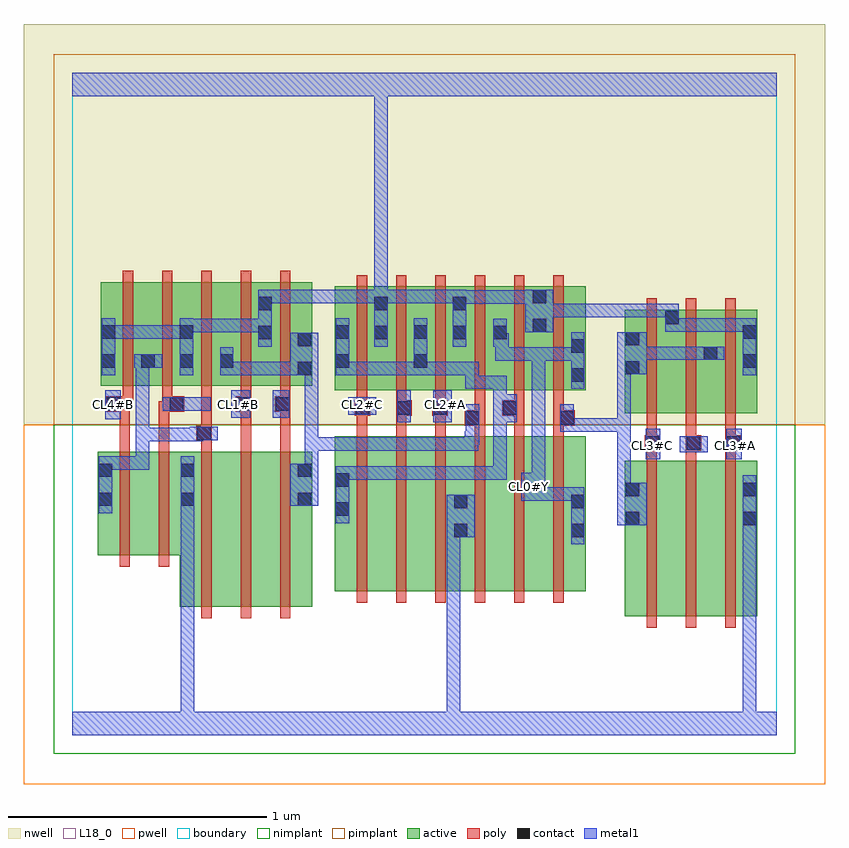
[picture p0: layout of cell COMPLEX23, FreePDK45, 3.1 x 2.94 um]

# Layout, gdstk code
import gdstk
lib = gdstk.Library(unit=1e-6, precision=1e-09)
def R(c, l, rs):  # rectangles x0, y0, x1, y1
    for r in rs: c.add(gdstk.rectangle(r[:2], r[2:], *l))
def A(c, l, x, y, w, h, nx, ny, dx, dy):  # array of equal rectangles
    R(c, l, [(x+i*dx, y+j*dy, x+i*dx+w, y+j*dy+h) for i in range(nx) for j in range(ny)])
active = (1, 0)
pwell = (2, 0)
nwell = (3, 0)
nimplant = (4, 0)
pimplant = (5, 0)
poly = (9, 0)
contact = (10, 0)
metal1 = (11, 0)
L18_0 = (18, 0)
boundary = (235, 0)

complex23 = lib.new_cell('COMPLEX23')
R(complex23, active, [(2.134,0.46,2.194,1.06), (2.134,0.46,2.314,1.06), (2.314,0.46,2.466,1.06), (2.466,0.46,2.646,1.06), (2.586,0.46,2.646,1.06), (0.414,0.496,0.594,1.096), (0.594,0.496,0.746,1.096), (0.746,0.496,0.926,1.096), (0.866,0.556,0.926,1.096), (1.014,0.556,1.074,1.156), (1.014,0.556,1.194,1.156), (1.194,0.556,1.346,1.156), (1.346,0.556,1.53,1.156), (1.47,0.556,1.65,1.156), (1.47,0.556,1.53,0.952), (1.65,0.556,1.802,1.156), (1.802,0.556,1.982,1.156), (1.922,0.556,1.982,1.156), (0.098,0.696,0.278,1.096), (0.278,0.696,0.474,1.096), (0.098,0.702,0.158,1.096), (0.414,0.702,0.474,1.054), (2.134,1.244,2.194,1.644), (2.134,1.244,2.346,1.644), (2.286,1.244,2.494,1.644), (2.434,1.244,2.646,1.644), (2.586,1.244,2.646,1.644), (2.434,1.258,2.494,1.644), (1.014,1.334,1.222,1.734), (1.014,1.334,1.074,1.644), (1.162,1.334,1.374,1.734), (1.314,1.334,1.526,1.734), (1.314,1.334,1.374,1.644), (1.466,1.334,1.682,1.734), (1.622,1.334,1.834,1.734), (1.774,1.334,1.982,1.734), (1.922,1.334,1.982,1.644), (1.622,1.342,1.682,1.644), (0.11,1.35,0.322,1.75), (0.11,1.35,0.17,1.644), (0.262,1.35,0.47,1.75), (0.262,1.35,0.322,1.644), (0.41,1.35,0.626,1.75), (0.41,1.35,0.47,1.644), (0.566,1.35,0.774,1.75), (0.566,1.35,0.626,1.644), (0.714,1.35,0.926,1.75), (0.866,1.35,0.926,1.644), (1.162,1.35,1.222,1.698), (1.466,1.35,1.526,1.722), (1.774,1.35,1.834,1.726), (0.714,1.376,0.774,1.71), (2.286,1.382,2.346,1.644)])
R(complex23, pwell, [(-0.188,-0.188,2.908,1.2)])
R(complex23, nwell, [(-0.188,1.2,2.908,2.748)])
R(complex23, nimplant, [(-0.072,-0.072,2.792,1.2)])
R(complex23, pimplant, [(-0.072,1.2,2.792,2.632)])
A(complex23, poly, 2.218, 0.416, 0.04, 0.688, 3, 1, 0.152, 0)
A(complex23, poly, 0.498, 0.452, 0.04, 0.688, 3, 1, 0.152, 0)
A(complex23, poly, 1.098, 0.512, 0.04, 0.688, 6, 1, 0.152, 0)
A(complex23, poly, 2.218, 1.064, 0.04, 0.076, 3, 1, 0.152, 0)
A(complex23, poly, 2.218, 1.12, 0.04, 0.12, 3, 1, 0.152, 0)
A(complex23, poly, 1.098, 1.16, 0.04, 0.114, 3, 1, 0.152, 0)
A(complex23, poly, 2.218, 1.2, 0.04, 0.488, 3, 1, 0.152, 0)
A(complex23, poly, 1.098, 1.254, 0.04, 0.076, 3, 1, 0.152, 0)
A(complex23, poly, 1.098, 1.29, 0.04, 0.488, 6, 1, 0.152, 0)
A(complex23, poly, 0.194, 1.306, 0.04, 0.488, 5, 1, 0.152, 0)
R(complex23, poly, [(0.182,0.652,0.222,1.14), (0.334,0.652,0.374,1.14), (0.182,1.1,0.222,1.29), (0.334,1.1,0.374,1.29), (0.498,1.1,0.538,1.176), (0.65,1.1,0.69,1.29), (0.802,1.1,0.842,1.29), (2.21,1.1,2.27,1.16), (2.218,1.1,2.258,1.14), (2.218,1.1,2.258,1.14), (2.37,1.1,2.43,1.16), (2.522,1.1,2.582,1.16), (2.37,1.12,2.41,1.16), (2.37,1.12,2.41,1.16), (2.522,1.12,2.562,1.16), (2.522,1.12,2.562,1.16), (0.478,1.136,0.538,1.196), (0.498,1.156,0.538,1.196), (0.498,1.156,0.538,1.196), (0.498,1.156,0.538,1.346), (1.554,1.16,1.594,1.236), (1.706,1.16,1.746,1.274), (1.858,1.16,1.898,1.236), (1.516,1.196,1.594,1.256), (1.858,1.196,1.94,1.256), (1.554,1.216,1.594,1.256), (1.554,1.216,1.594,1.256), (1.554,1.216,1.594,1.33), (1.858,1.216,1.898,1.256), (1.858,1.216,1.898,1.256), (1.858,1.216,1.898,1.33), (1.09,1.234,1.15,1.294), (1.098,1.234,1.138,1.274), (1.098,1.234,1.138,1.274), (1.25,1.234,1.29,1.274), (1.25,1.234,1.29,1.274), (1.25,1.234,1.31,1.294), (1.39,1.234,1.45,1.294), (1.402,1.234,1.442,1.274), (1.402,1.234,1.442,1.274), (1.66,1.234,1.746,1.294), (1.706,1.234,1.746,1.274), (1.706,1.234,1.746,1.274), (0.13,1.25,0.222,1.31), (0.334,1.25,0.386,1.29), (0.346,1.25,0.386,1.29), (0.346,1.25,0.432,1.31), (0.63,1.25,0.69,1.31), (0.65,1.25,0.69,1.29), (0.65,1.25,0.69,1.29), (0.782,1.25,0.842,1.31), (0.802,1.25,0.842,1.29), (0.802,1.25,0.842,1.29), (1.706,1.254,1.746,1.33), (0.182,1.27,0.222,1.31), (0.182,1.27,0.234,1.31), (0.194,1.27,0.234,1.346), (0.346,1.27,0.386,1.346), (0.65,1.27,0.69,1.346), (0.802,1.27,0.842,1.346)])
R(complex23, contact, [(1.474,0.766,1.526,0.818), (1.926,0.766,1.978,0.818), (2.138,0.812,2.19,0.864), (2.59,0.812,2.642,0.864), (1.018,0.848,1.07,0.9), (1.474,0.878,1.526,0.93), (1.926,0.878,1.978,0.93), (0.102,0.886,0.154,0.938), (0.418,0.886,0.47,0.938), (0.87,0.886,0.922,0.938), (2.138,0.924,2.19,0.976), (2.59,0.924,2.642,0.976), (1.018,0.96,1.07,1.012), (0.102,0.998,0.154,1.05), (0.418,0.998,0.47,1.05), (0.87,0.998,0.922,1.05), (2.214,1.104,2.266,1.156), (2.374,1.104,2.426,1.156), (2.526,1.104,2.578,1.156), (0.482,1.14,0.534,1.192), (1.52,1.2,1.572,1.252), (1.884,1.2,1.936,1.252), (1.094,1.238,1.146,1.29), (1.254,1.238,1.306,1.29), (1.394,1.238,1.446,1.29), (1.664,1.238,1.716,1.29), (0.134,1.254,0.186,1.306), (0.376,1.254,0.428,1.306), (0.634,1.254,0.686,1.306), (0.786,1.254,0.838,1.306), (1.926,1.366,1.978,1.418), (0.87,1.392,0.922,1.444), (2.138,1.394,2.19,1.446), (0.114,1.42,0.166,1.472), (0.266,1.42,0.318,1.472), (0.414,1.42,0.466,1.472), (0.57,1.42,0.622,1.472), (1.018,1.42,1.07,1.472), (1.318,1.42,1.37,1.472), (2.59,1.42,2.642,1.472), (2.438,1.45,2.49,1.502), (1.926,1.478,1.978,1.53), (0.87,1.504,0.922,1.556), (2.138,1.506,2.19,1.558), (0.718,1.53,0.77,1.582), (1.166,1.53,1.218,1.582), (1.47,1.53,1.522,1.582), (1.626,1.53,1.678,1.582), (0.114,1.532,0.166,1.584), (0.414,1.532,0.466,1.584), (1.018,1.532,1.07,1.584), (1.318,1.532,1.37,1.584), (2.59,1.532,2.642,1.584), (1.778,1.558,1.83,1.61), (2.29,1.588,2.342,1.64), (0.718,1.642,0.77,1.694), (1.166,1.642,1.218,1.694), (1.47,1.642,1.522,1.694), (1.778,1.67,1.83,1.722)])
R(complex23, metal1, [(0,0,2.72,0.092), (0.418,0.04,0.47,0.092), (0.418,0.04,0.47,0.092), (0.418,0.04,0.47,0.092), (0.418,0.04,0.47,0.092), (0.418,0.04,0.47,0.092), (0.418,0.04,0.47,0.092), (0.418,0.04,0.47,0.91), (1.446,0.04,1.498,0.092), (1.446,0.04,1.498,0.092), (1.446,0.04,1.498,0.092), (1.446,0.04,1.498,0.092), (1.446,0.04,1.498,0.818), (2.59,0.04,2.642,0.836), (1.926,0.738,1.978,0.958), (1.446,0.766,1.498,0.818), (1.446,0.766,1.498,0.818), (1.446,0.766,1.498,0.818), (1.446,0.766,1.498,0.818), (1.446,0.766,1.554,0.93), (2.59,0.784,2.642,0.836), (2.59,0.784,2.642,0.836), (2.59,0.784,2.642,0.836), (2.59,0.784,2.642,0.836), (2.59,0.784,2.642,0.836), (2.59,0.784,2.642,0.836), (2.59,0.784,2.642,0.836), (2.59,0.784,2.642,0.836), (2.59,0.784,2.642,1.004), (2.104,0.812,2.218,0.976), (1.018,0.82,1.07,1.04), (0.102,0.858,0.154,1.078), (0.418,0.858,0.47,0.91), (0.418,0.858,0.47,0.91), (0.418,0.858,0.47,1.078), (0.842,0.886,0.95,1.05), (1.734,0.906,1.826,1.014), (1.774,0.906,1.826,0.958), (1.774,0.906,1.826,0.958), (1.774,0.906,1.826,0.958), (1.774,0.906,1.826,0.958), (1.774,0.906,1.978,0.958), (2.104,0.924,2.156,1.224), (1.774,0.962,1.826,1.014), (1.774,0.962,1.826,1.014), (1.774,0.962,1.826,1.5), (1.018,0.988,1.07,1.04), (1.018,0.988,1.07,1.04), (1.018,0.988,1.18,1.04), (1.128,0.988,1.18,1.04), (1.128,0.988,1.18,1.04), (1.128,0.988,1.18,1.04), (1.128,0.988,1.388,1.04), (1.336,0.988,1.388,1.04), (1.336,0.988,1.388,1.04), (1.336,0.988,1.388,1.04), (1.336,0.988,1.568,1.04), (1.516,0.988,1.568,1.04), (1.516,0.988,1.576,1.04), (1.524,0.988,1.576,1.04), (1.524,0.988,1.678,1.04), (1.626,0.988,1.678,1.04), (1.626,0.988,1.678,1.04), (1.626,0.988,1.678,1.04), (1.626,0.988,1.678,1.318), (0.898,0.998,0.95,1.152), (0.102,1.026,0.154,1.078), (0.102,1.026,0.154,1.078), (0.102,1.026,0.296,1.078), (0.244,1.026,0.296,1.078), (0.244,1.026,0.296,1.188), (2.214,1.066,2.27,1.184), (2.526,1.066,2.586,1.184), (2.346,1.094,2.454,1.156), (0.898,1.1,0.95,1.152), (0.898,1.1,0.95,1.152), (0.898,1.1,0.95,1.152), (0.898,1.1,1.06,1.152), (0.898,1.1,0.95,1.444), (1.008,1.1,1.06,1.152), (1.008,1.1,1.06,1.152), (1.008,1.1,1.06,1.152), (1.008,1.1,1.18,1.152), (1.128,1.1,1.18,1.152), (1.128,1.1,1.18,1.152), (1.128,1.1,1.18,1.152), (1.128,1.1,1.328,1.152), (1.276,1.1,1.328,1.152), (1.276,1.1,1.328,1.152), (1.276,1.1,1.328,1.152), (1.276,1.1,1.568,1.152), (1.516,1.1,1.568,1.174), (1.516,1.122,1.572,1.174), (1.52,1.122,1.572,1.28), (0.244,1.136,0.296,1.188), (0.244,1.136,0.296,1.188), (0.244,1.136,0.296,1.188), (0.244,1.136,0.506,1.188), (0.244,1.136,0.296,1.472), (0.454,1.136,0.506,1.192), (0.454,1.14,0.506,1.192), (0.454,1.14,0.562,1.192), (1.884,1.172,1.936,1.28), (1.884,1.172,2.014,1.224), (1.962,1.172,2.014,1.224), (1.962,1.172,2.156,1.224), (2.104,1.172,2.156,1.224), (2.104,1.172,2.156,1.446), (1.254,1.21,1.306,1.334), (1.394,1.21,1.466,1.334), (1.664,1.21,1.716,1.318), (0.126,1.222,0.186,1.334), (0.614,1.226,0.686,1.334), (0.774,1.226,0.838,1.334), (1.066,1.238,1.174,1.306), (0.348,1.254,0.534,1.306), (1.626,1.266,1.716,1.318), (1.626,1.266,1.678,1.39), (1.518,1.338,1.57,1.39), (1.518,1.338,1.57,1.444), (1.518,1.338,1.576,1.39), (1.524,1.338,1.576,1.39), (1.524,1.338,1.678,1.39), (1.926,1.338,1.978,1.558), (0.114,1.392,0.166,1.612), (0.414,1.392,0.466,1.612), (0.57,1.392,0.622,1.444), (0.57,1.392,0.622,1.444), (0.57,1.392,0.622,1.5), (0.57,1.392,0.784,1.444), (0.732,1.392,0.784,1.444), (0.732,1.392,0.784,1.444), (0.732,1.392,0.784,1.444), (0.732,1.392,0.894,1.444), (0.842,1.392,0.95,1.556), (1.018,1.392,1.07,1.444), (1.018,1.392,1.07,1.444), (1.018,1.392,1.07,1.612), (1.018,1.392,1.18,1.444), (1.128,1.392,1.18,1.444), (1.128,1.392,1.18,1.444), (1.128,1.392,1.18,1.444), (1.128,1.392,1.37,1.444), (1.318,1.392,1.37,1.444), (1.318,1.392,1.37,1.444), (1.318,1.392,1.37,1.612), (1.318,1.392,1.57,1.444), (1.518,1.392,1.57,1.444), (2.59,1.392,2.642,1.612), (2.104,1.394,2.156,1.446), (2.104,1.394,2.156,1.446), (2.104,1.394,2.218,1.558), (0.238,1.42,0.346,1.472), (0.244,1.42,0.296,1.472), (0.244,1.42,0.296,1.472), (1.634,1.448,1.826,1.5), (1.634,1.448,1.686,1.554), (1.774,1.448,1.826,1.5), (1.774,1.448,1.978,1.5), (1.926,1.448,1.978,1.5), (1.926,1.448,1.978,1.5), (2.166,1.45,2.218,1.502), (2.166,1.45,2.218,1.502), (2.166,1.45,2.352,1.502), (2.3,1.45,2.352,1.502), (2.3,1.45,2.352,1.502), (2.3,1.45,2.352,1.502), (2.3,1.45,2.462,1.502), (2.41,1.45,2.518,1.502), (0.718,1.502,0.77,1.722), (1.166,1.502,1.218,1.722), (1.47,1.502,1.522,1.722), (1.626,1.502,1.678,1.61), (1.626,1.502,1.686,1.554), (0.114,1.532,0.166,1.584), (0.114,1.532,0.166,1.584), (0.114,1.532,0.346,1.584), (0.294,1.532,0.346,1.584), (0.294,1.532,0.346,1.584), (0.294,1.532,0.346,1.584), (0.294,1.532,0.466,1.584), (0.414,1.558,0.488,1.61), (0.436,1.558,0.488,1.61), (0.436,1.558,0.64,1.61), (0.588,1.558,0.64,1.61), (0.588,1.558,0.64,1.61), (0.588,1.558,0.64,1.61), (0.588,1.558,0.77,1.61), (1.75,1.558,1.858,1.722), (2.29,1.56,2.342,1.612), (2.29,1.56,2.342,1.612), (2.29,1.56,2.462,1.612), (2.29,1.56,2.342,1.668), (2.41,1.56,2.462,1.612), (2.41,1.56,2.642,1.612), (2.59,1.56,2.642,1.612), (2.59,1.56,2.642,1.612), (1.806,1.616,2.014,1.668), (1.962,1.616,2.014,1.668), (1.962,1.616,2.014,1.668), (1.962,1.616,2.014,1.668), (1.962,1.616,2.124,1.668), (2.072,1.616,2.124,1.668), (2.072,1.616,2.124,1.668), (2.072,1.616,2.124,1.668), (2.072,1.616,2.342,1.668), (1.47,1.668,1.576,1.72), (1.524,1.668,1.576,1.72), (1.524,1.668,1.678,1.72), (1.626,1.668,1.678,1.72), (1.626,1.668,1.686,1.72), (1.634,1.668,1.686,1.72), (1.634,1.668,1.802,1.72), (0.718,1.67,0.77,1.722), (0.718,1.67,0.77,1.722), (0.718,1.67,0.894,1.722), (0.842,1.67,0.894,1.722), (0.842,1.67,1.06,1.722), (1.008,1.67,1.06,1.722), (1.008,1.67,1.06,1.722), (1.008,1.67,1.06,1.722), (1.008,1.67,1.218,1.722), (1.166,1.67,1.218,1.722), (1.166,1.67,1.218,1.722), (1.166,1.67,1.388,1.722), (1.166,1.67,1.218,2.52), (1.336,1.67,1.388,1.722), (1.336,1.67,1.388,1.722), (1.336,1.67,1.388,1.722), (1.336,1.67,1.522,1.722), (0,2.468,2.72,2.56), (1.166,2.468,1.218,2.52), (1.166,2.468,1.218,2.52), (1.166,2.468,1.218,2.52), (1.166,2.468,1.218,2.52), (1.166,2.468,1.218,2.52), (1.166,2.468,1.218,2.52), (1.166,2.468,1.218,2.52), (1.166,2.468,1.218,2.52), (1.166,2.468,1.218,2.52), (1.166,2.468,1.218,2.52), (1.166,2.468,1.218,2.52), (1.166,2.468,1.218,2.52), (1.166,2.468,1.218,2.52), (1.166,2.468,1.218,2.52), (1.166,2.468,1.218,2.52), (1.166,2.468,1.218,2.52)])
A(complex23, L18_0, 2.214, 1.094, 0.052, 0.052, 3, 1, 0.16, 0)
A(complex23, L18_0, 0.454, 1.254, 0.052, 0.052, 3, 1, 0.16, 0)
A(complex23, L18_0, 1.094, 1.254, 0.052, 0.052, 3, 1, 0.16, 0)
R(complex23, L18_0, [(0,0,2.72,0.092), (0.418,0.04,0.47,0.092), (0.418,0.04,0.47,0.092), (0.418,0.04,0.47,0.092), (0.418,0.04,0.47,0.092), (0.418,0.04,0.47,0.092), (0.418,0.04,0.47,0.092), (0.418,0.04,0.47,0.91), (1.446,0.04,1.498,0.092), (1.446,0.04,1.498,0.092), (1.446,0.04,1.498,0.092), (1.446,0.04,1.498,0.092), (1.446,0.04,1.498,0.818), (2.59,0.04,2.642,0.836), (1.926,0.738,1.978,0.958), (1.446,0.766,1.498,0.818), (1.446,0.766,1.498,0.818), (1.446,0.766,1.498,0.818), (1.446,0.766,1.498,0.818), (1.446,0.766,1.554,0.93), (2.59,0.784,2.642,1.004), (2.59,0.784,2.642,0.836), (2.59,0.784,2.642,0.836), (2.59,0.784,2.642,0.836), (2.59,0.784,2.642,0.836), (2.59,0.784,2.642,0.836), (2.59,0.784,2.642,0.836), (2.59,0.784,2.642,0.836), (2.59,0.784,2.642,0.836), (0.418,0.858,0.47,1.078), (0.418,0.858,0.47,0.91), (0.418,0.858,0.47,0.91), (1.734,0.906,1.826,1.014), (1.774,0.906,1.826,0.958), (1.774,0.906,1.826,0.958), (1.774,0.906,1.826,0.958), (1.774,0.906,1.826,0.958), (1.774,0.906,1.978,0.958), (1.734,0.934,1.786,0.986), (1.774,0.962,1.826,1.014), (1.774,0.962,1.826,1.014), (1.774,0.962,1.826,1.5), (2.214,1.066,2.27,1.184), (2.526,1.066,2.586,1.184), (2.346,1.094,2.454,1.156), (1.254,1.21,1.306,1.334), (1.394,1.21,1.466,1.334), (0.126,1.222,0.186,1.334), (0.614,1.226,0.686,1.334), (0.774,1.226,0.838,1.334), (1.066,1.238,1.174,1.306), (0.134,1.254,0.186,1.306), (0.348,1.254,0.534,1.306), (1.926,1.338,1.978,1.558), (0.114,1.392,0.166,1.612), (0.414,1.392,0.466,1.612), (2.59,1.392,2.642,1.612), (1.634,1.448,1.686,1.554), (1.634,1.448,1.826,1.5), (1.774,1.448,1.826,1.5), (1.774,1.448,1.978,1.5), (1.926,1.448,1.978,1.5), (1.926,1.448,1.978,1.5), (0.718,1.502,0.77,1.722), (1.166,1.502,1.218,1.722), (1.47,1.502,1.522,1.722), (1.626,1.502,1.678,1.61), (1.626,1.502,1.686,1.554), (0.114,1.532,0.166,1.584), (0.114,1.532,0.166,1.584), (0.114,1.532,0.346,1.584), (0.294,1.532,0.346,1.584), (0.294,1.532,0.346,1.584), (0.294,1.532,0.346,1.584), (0.294,1.532,0.466,1.584), (0.414,1.558,0.488,1.61), (0.436,1.558,0.488,1.61), (0.436,1.558,0.64,1.61), (0.588,1.558,0.64,1.61), (0.588,1.558,0.64,1.61), (0.588,1.558,0.64,1.61), (0.588,1.558,0.77,1.61), (1.75,1.558,1.858,1.722), (2.29,1.56,2.342,1.612), (2.29,1.56,2.342,1.612), (2.29,1.56,2.462,1.612), (2.29,1.56,2.342,1.668), (2.41,1.56,2.462,1.612), (2.41,1.56,2.642,1.612), (2.59,1.56,2.642,1.612), (2.59,1.56,2.642,1.612), (1.806,1.616,2.014,1.668), (1.962,1.616,2.014,1.668), (1.962,1.616,2.014,1.668), (1.962,1.616,2.014,1.668), (1.962,1.616,2.124,1.668), (2.072,1.616,2.124,1.668), (2.072,1.616,2.124,1.668), (2.072,1.616,2.124,1.668), (2.072,1.616,2.342,1.668), (1.47,1.668,1.576,1.72), (1.524,1.668,1.576,1.72), (1.524,1.668,1.678,1.72), (1.626,1.668,1.678,1.72), (1.626,1.668,1.686,1.72), (1.634,1.668,1.686,1.72), (1.634,1.668,1.802,1.72), (0.718,1.67,0.77,1.722), (0.718,1.67,0.77,1.722), (0.718,1.67,0.894,1.722), (0.842,1.67,0.894,1.722), (0.842,1.67,1.06,1.722), (1.008,1.67,1.06,1.722), (1.008,1.67,1.06,1.722), (1.008,1.67,1.06,1.722), (1.008,1.67,1.218,1.722), (1.166,1.67,1.218,1.722), (1.166,1.67,1.218,1.722), (1.166,1.67,1.218,2.52), (1.166,1.67,1.388,1.722), (1.336,1.67,1.388,1.722), (1.336,1.67,1.388,1.722), (1.336,1.67,1.388,1.722), (1.336,1.67,1.522,1.722), (0,2.468,2.72,2.56), (1.166,2.468,1.218,2.52), (1.166,2.468,1.218,2.52), (1.166,2.468,1.218,2.52), (1.166,2.468,1.218,2.52), (1.166,2.468,1.218,2.52), (1.166,2.468,1.218,2.52), (1.166,2.468,1.218,2.52), (1.166,2.468,1.218,2.52), (1.166,2.468,1.218,2.52), (1.166,2.468,1.218,2.52), (1.166,2.468,1.218,2.52), (1.166,2.468,1.218,2.52), (1.166,2.468,1.218,2.52), (1.166,2.468,1.218,2.52), (1.166,2.468,1.218,2.52), (1.166,2.468,1.218,2.52)])
R(complex23, boundary, [(0,0,2.72,2.56)])
complex23.add(gdstk.Label('CL0#Y', (1.76,0.96), layer=11, texttype=0))
complex23.add(gdstk.Label('CL1#B', (0.64,1.28), layer=11, texttype=0))
complex23.add(gdstk.Label('CL1#C', (0.8,1.28), layer=11, texttype=0))
complex23.add(gdstk.Label('CL2#A', (1.44,1.28), layer=11, texttype=0))
complex23.add(gdstk.Label('CL2#B', (1.28,1.28), layer=11, texttype=0))
complex23.add(gdstk.Label('CL2#C', (1.12,1.28), layer=11, texttype=0))
complex23.add(gdstk.Label('CL3#A', (2.56,1.12), layer=11, texttype=0))
complex23.add(gdstk.Label('CL3#B', (2.4,1.12), layer=11, texttype=0))
complex23.add(gdstk.Label('CL3#C', (2.24,1.12), layer=11, texttype=0))
complex23.add(gdstk.Label('CL4#A', (0.48,1.28), layer=11, texttype=0))
complex23.add(gdstk.Label('CL4#B', (0.16,1.28), layer=11, texttype=0))

lib.write_gds('COMPLEX23.gds')
